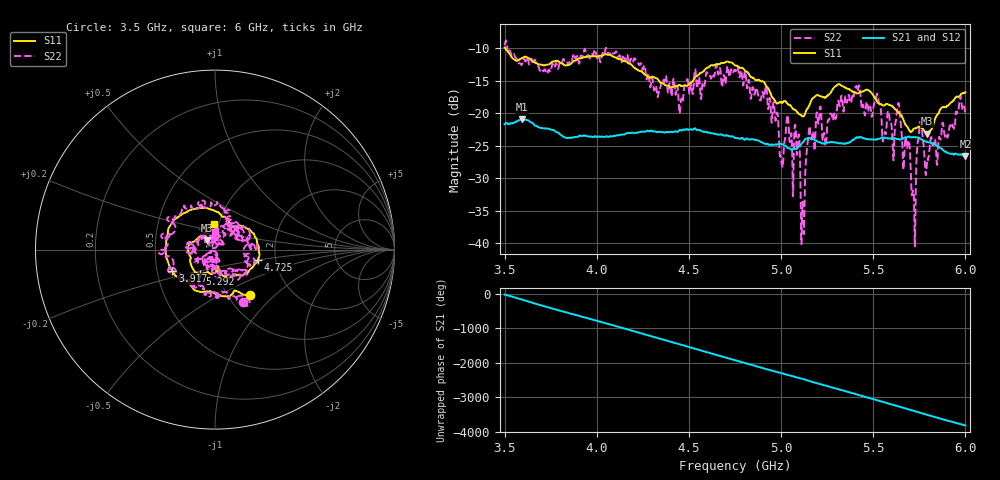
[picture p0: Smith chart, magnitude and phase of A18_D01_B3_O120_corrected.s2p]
! Created with skrf 1.9.0 (http://scikit-rf.org).
# Hz S RI R 50.0
!freq ReS11 ImS11 ReS21 ImS21 ReS12 ImS12 ReS22 ImS22
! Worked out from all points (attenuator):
!   1601 points, 3.5 GHz to 6 GHz, reference 50 ohm
!   highest |S21| = -20.96 dB at 3.592 GHz (marker M1); lowest = -26.6 dB at 6 GHz (marker M2)
!   lowest |S11| = -23.2 dB at 5.791 GHz (marker M3), VSWR 1.15, Z = 45.4 + j4.82 ohm
!   |S11| at or under -10 dB: 3.504 GHz to end of sweep
!   |S22| runs from -40.5 to -8.8 dB; largest |S21 - S12| = 0.0012
!   S11 on the Smith chart (normalised r, x): 3.5 GHz: 1.26, -0.71; 3.917 GHz: 0.60, -0.15; 4.725 GHz: 1.61, -0.20; 5.292 GHz: 0.82, -0.23; 6 GHz: 0.95, +0.28
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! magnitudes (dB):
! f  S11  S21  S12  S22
! 3.5 GHz  -9.9  -21.7  -21.7  -9.5
! 3.592 GHz  -11.6  -21.0  -21.0  -12.6
! 3.917 GHz  -11.5  -23.5  -23.5  -11.1
! 4.334 GHz  -14.9  -22.9  -22.8  -17.1
! 4.725 GHz  -12.2  -23.6  -23.5  -13.9
! 4.75 GHz  -12.6  -23.8  -23.7  -13.4
! 4.927 GHz  -16.1  -24.7  -24.7  -18.3
! 5.003 GHz  -18.4  -24.8  -24.8  -27.8
! 5.031 GHz  -18.4  -25.2  -25.2  -20.9
! 5.086 GHz  -19.8  -25.4  -25.4  -26.4
! 5.117 GHz  -20.5  -24.5  -24.5  -33.6
! 5.145 GHz  -19.2  -23.8  -23.8  -24.3
! 5.167 GHz  -17.9  -23.9  -23.9  -23.7
! 5.292 GHz  -15.9  -24.5  -24.5  -20.4
! 5.414 GHz  -17.0  -23.7  -23.8  -16.3
! 5.584 GHz  -18.7  -23.9  -23.9  -19.8
! 5.641 GHz  -20.0  -24.1  -24.0  -18.8
! 5.689 GHz  -22.3  -23.6  -23.6  -24.3
! 5.719 GHz  -22.4  -23.7  -23.7  -32.2
! 5.752 GHz  -22.1  -23.8  -23.8  -21.7
! 5.791 GHz  -23.2  -24.4  -24.4  -28.0
! 6 GHz  -16.8  -26.6  -26.5  -20.1
